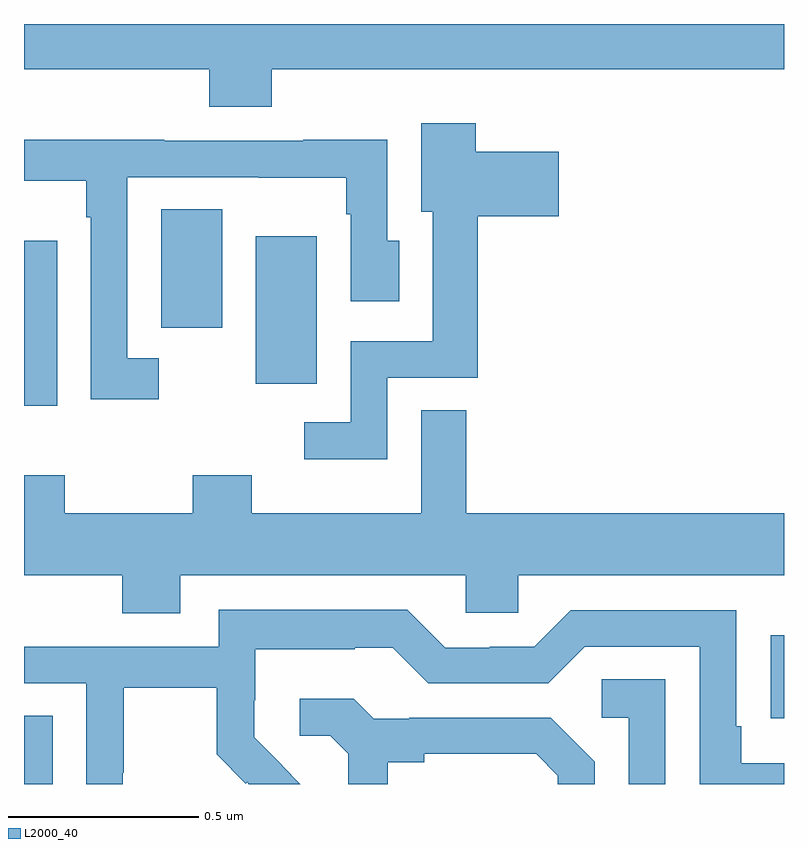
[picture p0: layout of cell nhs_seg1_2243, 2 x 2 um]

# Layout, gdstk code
import gdstk
lib = gdstk.Library(unit=1e-6, precision=1e-09)
def R(c, l, rs):  # rectangles x0, y0, x1, y1
    for r in rs: c.add(gdstk.rectangle(r[:2], r[2:], *l))
def P(c, l, *ps):  # polygons
    for p in ps: c.add(gdstk.Polygon(p, *l))
L2000_40 = (2000, 40)

nhs_seg1_2243 = lib.new_cell('nhs_seg1_2243')
R(nhs_seg1_2243, L2000_40, [(139,535.199,139.075,535.379), (140.965,535.372,141,535.591), (139,536.195,139.087,536.629), (139.61,536.252,139.771,536.641), (139.361,536.4,139.522,536.711)])
P(nhs_seg1_2243, L2000_40, [(139.652,537.08),(141,537.08),(141,537.199),(139,537.199),(139,537.08),(139.487,537.08),(139.487,536.981),(139.652,536.981)],
  [(139.956,536.268),(140.194,536.268),(140.194,536.693),(140.407,536.693),(140.407,536.863),(140.189,536.863),(140.189,536.938),(140.045,536.938),(140.045,536.705),(140.075,536.705),(140.075,536.364),(139.86,536.364),(139.86,536.151),(139.737,536.151),(139.737,536.054),(139.956,536.054)],
  [(139.354,536.319),(139.272,536.319),(139.272,536.796),(139.618,536.796),(139.618,536.795),(139.848,536.795),(139.848,536.699),(139.86,536.699),(139.86,536.469),(139.987,536.469),(139.987,536.628),(139.956,536.628),(139.956,536.894),(139.735,536.894),(139.735,536.892),(139.369,536.892),(139.369,536.894),(139,536.894),(139,536.786),(139.164,536.786),(139.164,536.69),(139.176,536.69),(139.176,536.211),(139.354,536.211)],
  [(139,536.011),(139,535.748),(139.259,535.748),(139.259,535.649),(139.411,535.649),(139.411,535.748),(140.163,535.748),(140.163,535.65),(140.301,535.65),(140.301,535.748),(141,535.748),(141,535.912),(140.164,535.912),(140.164,536.183),(140.045,536.183),(140.045,535.912),(139.599,535.912),(139.599,536.011),(139.444,536.011),(139.444,535.912),(139.107,535.912),(139.107,536.011)],
  [(139.26,535.228),(139.263,535.228),(139.263,535.452),(139.507,535.452),(139.507,535.277),(139.584,535.2),(139.587,535.203),(139.591,535.199),(139.727,535.199),(139.679,535.247),(139.68,535.248),(139.606,535.322),(139.606,535.419),(139.608,535.419),(139.608,535.553),(139.871,535.553),(139.871,535.557),(139.971,535.557),(140.064,535.464),(140.379,535.464),(140.475,535.56),(140.778,535.56),(140.778,535.199),(141,535.199),(141,535.254),(140.887,535.254),(140.887,535.351),(140.874,535.351),(140.874,535.656),(140.439,535.656),(140.343,535.56),(140.225,535.56),(140.225,535.557),(140.109,535.557),(140.009,535.657),(139.512,535.657),(139.512,535.56),(139,535.56),(139,535.464),(139.164,535.464),(139.164,535.199),(139.26,535.199)],
  [(140.688,535.475),(140.52,535.475),(140.52,535.374),(140.592,535.374),(140.592,535.199),(140.688,535.199)],
  [(139.957,535.256),(140.053,535.256),(140.053,535.278),(140.348,535.278),(140.405,535.221),(140.405,535.199),(140.502,535.199),(140.502,535.258),(140.386,535.374),(140.014,535.374),(140.014,535.371),(139.92,535.371),(139.868,535.423),(139.725,535.423),(139.725,535.326),(139.806,535.326),(139.853,535.279),(139.853,535.199),(139.957,535.199)])

lib.write_gds('nhs_seg1_2243.gds')
